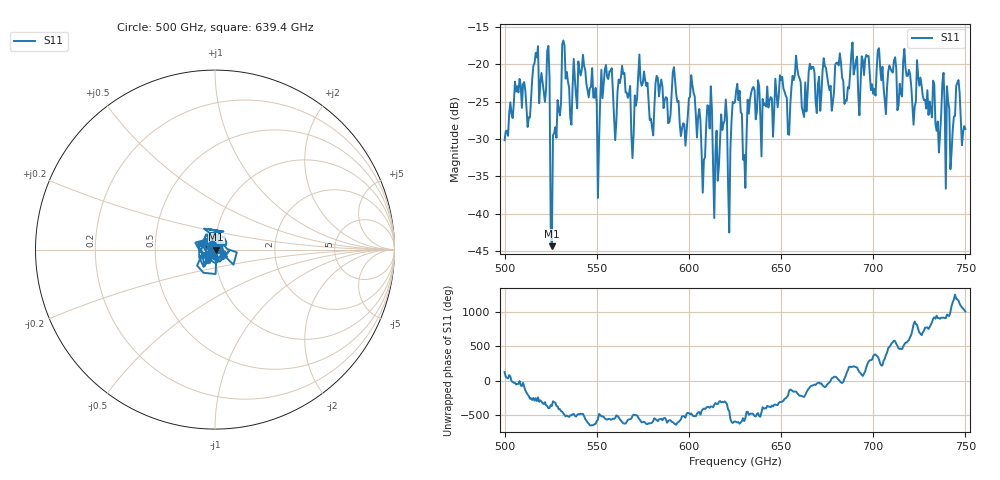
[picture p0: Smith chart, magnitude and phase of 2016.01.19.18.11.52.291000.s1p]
!Created with skrf (http://scikit-rf.org).
# GHz S RI R 50.0
!freq ReS11 ImS11
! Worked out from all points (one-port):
!   401 points, 500 GHz to 750 GHz, reference 50 ohm
!   lowest |S11| = -44.4 dB at 525.6 GHz (marker M1), VSWR 1.01, Z = 50.6 - j0.0638 ohm
!   |S11| at or under -10 dB: start of sweep to end of sweep
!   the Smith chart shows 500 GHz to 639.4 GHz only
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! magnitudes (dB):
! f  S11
! 500 GHz  -30.2
! 506.9 GHz  -22.9
! 513.1 GHz  -27.1
! 516.9 GHz  -18.5
! 523.1 GHz  -18.2
! 525.6 GHz  -44.4
! 531.2 GHz  -17.3
! 550.6 GHz  -37.9
! 553.8 GHz  -22.7
! 562.5 GHz  -22.5
! 570 GHz  -29.5
! 574.4 GHz  -22.9
! 580 GHz  -28.5
! 593.8 GHz  -25.0
! 596.9 GHz  -27.9
! 601.9 GHz  -22.8
! 608.1 GHz  -32.8
! 611.2 GHz  -28.6
! 614.4 GHz  -31.8
! 618.8 GHz  -27.9
! 622.5 GHz  -31.3
! 625 GHz  -25.1
! 630 GHz  -32.1
! 634.4 GHz  -23.3
! 656.2 GHz  -21.6
! 687.5 GHz  -21.1
! 718.8 GHz  -21.6
! 750 GHz  -28.7
